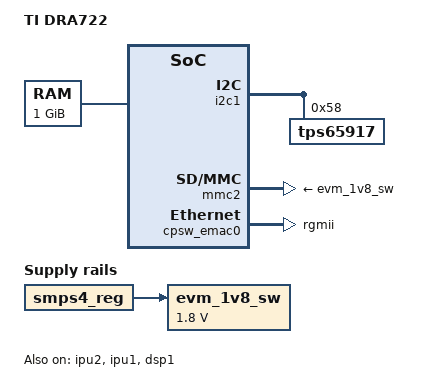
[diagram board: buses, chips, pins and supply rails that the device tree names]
/*
 * Copyright (C) 2014-2016 Texas Instruments Incorporated - http://www.ti.com/
 *
 * This program is free software; you can redistribute it and/or modify
 * it under the terms of the GNU General Public License version 2 as
 * published by the Free Software Foundation.
 */
#include "dra72-evm-common.dtsi"
/ {
	model = "TI DRA722";

	memory@0 {
		device_type = "memory";
		reg = <0x0 0x80000000 0x0 0x40000000>; /* 1024 MB */
	};

	reserved-memory {
		#address-cells = <2>;
		#size-cells = <2>;
		ranges;

		ipu2_cma_pool: ipu2_cma@95800000 {
			compatible = "shared-dma-pool";
			reg = <0x0 0x95800000 0x0 0x3800000>;
			reusable;
			status = "okay";
		};

		dsp1_cma_pool: dsp1_cma@99000000 {
			compatible = "shared-dma-pool";
			reg = <0x0 0x99000000 0x0 0x4000000>;
			reusable;
			status = "okay";
		};

		ipu1_cma_pool: ipu1_cma@9d000000 {
			compatible = "shared-dma-pool";
			reg = <0x0 0x9d000000 0x0 0x2000000>;
			reusable;
			status = "okay";
		};
	};

	evm_1v8_sw: fixedregulator-evm_1v8 {
		compatible = "regulator-fixed";
		regulator-name = "evm_1v8";
		regulator-min-microvolt = <1800000>;
		regulator-max-microvolt = <1800000>;
		vin-supply = <&smps4_reg>;
		regulator-always-on;
		regulator-boot-on;
	};
};

&i2c1 {
	tps65917: tps65917@58 {
		reg = <0x58>;

		interrupts = <GIC_SPI 2 IRQ_TYPE_NONE>;  /* IRQ_SYS_1N */
	};
};

#include "dra72-evm-tps65917.dtsi"

&dra7_pmx_core {
	mmc1_pins_sdr12: pinmux_mmc1_sdr12_pins {
		pinctrl-single,pins = <
			DRA7XX_CORE_IOPAD(0x3754, PIN_INPUT_PULLUP | MUX_MODE0) /* mmc1_clk.clk */
			DRA7XX_CORE_IOPAD(0x3758, PIN_INPUT_PULLUP | MUX_MODE0) /* mmc1_cmd.cmd */
			DRA7XX_CORE_IOPAD(0x375c, PIN_INPUT_PULLUP | MUX_MODE0) /* mmc1_dat0.dat0 */
			DRA7XX_CORE_IOPAD(0x3760, PIN_INPUT_PULLUP | MUX_MODE0) /* mmc1_dat1.dat1 */
			DRA7XX_CORE_IOPAD(0x3764, PIN_INPUT_PULLUP | MUX_MODE0) /* mmc1_dat2.dat2 */
			DRA7XX_CORE_IOPAD(0x3768, PIN_INPUT_PULLUP | MUX_MODE0) /* mmc1_dat3.dat3 */
		>;
	};

	mmc1_pins_hs: pinmux_mmc1_hs_pins {
		pinctrl-single,pins = <
			DRA7XX_CORE_IOPAD(0x3754, PIN_INPUT_PULLUP | MUX_MODE0) /* mmc1_clk.clk */
			DRA7XX_CORE_IOPAD(0x3758, PIN_INPUT_PULLUP | MUX_MODE0) /* mmc1_cmd.cmd */
			DRA7XX_CORE_IOPAD(0x375c, PIN_INPUT_PULLUP | MUX_MODE0) /* mmc1_dat0.dat0 */
			DRA7XX_CORE_IOPAD(0x3760, PIN_INPUT_PULLUP | MUX_MODE0) /* mmc1_dat1.dat1 */
			DRA7XX_CORE_IOPAD(0x3764, PIN_INPUT_PULLUP | MUX_MODE0) /* mmc1_dat2.dat2 */
			DRA7XX_CORE_IOPAD(0x3768, PIN_INPUT_PULLUP | MUX_MODE0) /* mmc1_dat3.dat3 */
		>;
	};

	mmc1_pins_sdr25: pinmux_mmc1_sdr25_pins {
		pinctrl-single,pins = <
			DRA7XX_CORE_IOPAD(0x3754, PIN_INPUT_PULLUP | MUX_MODE0) /* mmc1_clk.clk */
			DRA7XX_CORE_IOPAD(0x3758, PIN_INPUT_PULLUP | MUX_MODE0) /* mmc1_cmd.cmd */
			DRA7XX_CORE_IOPAD(0x375c, PIN_INPUT_PULLUP | MUX_MODE0) /* mmc1_dat0.dat0 */
			DRA7XX_CORE_IOPAD(0x3760, PIN_INPUT_PULLUP | MUX_MODE0) /* mmc1_dat1.dat1 */
			DRA7XX_CORE_IOPAD(0x3764, PIN_INPUT_PULLUP | MUX_MODE0) /* mmc1_dat2.dat2 */
			DRA7XX_CORE_IOPAD(0x3768, PIN_INPUT_PULLUP | MUX_MODE0) /* mmc1_dat3.dat3 */
		>;
	};

	mmc1_pins_sdr50: pinmux_mmc1_sdr50_pins {
		pinctrl-single,pins = <
			DRA7XX_CORE_IOPAD(0x3754, PIN_INPUT_PULLUP | MUX_VIRTUAL_MODE15 | MUX_MODE0)	/* mmc1_clk.mmc1_clk */
			DRA7XX_CORE_IOPAD(0x3758, PIN_INPUT_PULLUP | MUX_VIRTUAL_MODE15 | MUX_MODE0)	/* mmc1_cmd.mmc1_cmd */
			DRA7XX_CORE_IOPAD(0x375C, PIN_INPUT_PULLUP | MUX_VIRTUAL_MODE15 | MUX_MODE0)	/* mmc1_dat0.mmc1_dat0 */
			DRA7XX_CORE_IOPAD(0x3760, PIN_INPUT_PULLUP | MUX_VIRTUAL_MODE15 | MUX_MODE0)	/* mmc1_dat1.mmc1_dat1 */
			DRA7XX_CORE_IOPAD(0x3764, PIN_INPUT_PULLUP | MUX_VIRTUAL_MODE15 | MUX_MODE0)	/* mmc1_dat2.mmc1_dat2 */
			DRA7XX_CORE_IOPAD(0x3768, PIN_INPUT_PULLUP | MUX_VIRTUAL_MODE15 | MUX_MODE0)	/* mmc1_dat3.mmc1_dat3 */
		>;
	};

	mmc1_pins_ddr50: pinmux_mmc1_ddr50_pins {
		pinctrl-single,pins = <
			DRA7XX_CORE_IOPAD(0x3754, PIN_INPUT_PULLUP | MUX_VIRTUAL_MODE14 | MUX_MODE0)	/* mmc1_clk.mmc1_clk */
			DRA7XX_CORE_IOPAD(0x3758, PIN_INPUT_PULLUP | MUX_VIRTUAL_MODE14 | MUX_MODE0)	/* mmc1_cmd.mmc1_cmd */
			DRA7XX_CORE_IOPAD(0x375C, PIN_INPUT_PULLUP | MUX_VIRTUAL_MODE14 | MUX_MODE0)	/* mmc1_dat0.mmc1_dat0 */
			DRA7XX_CORE_IOPAD(0x3760, PIN_INPUT_PULLUP | MUX_VIRTUAL_MODE14 | MUX_MODE0)	/* mmc1_dat1.mmc1_dat1 */
			DRA7XX_CORE_IOPAD(0x3764, PIN_INPUT_PULLUP | MUX_VIRTUAL_MODE14 | MUX_MODE0)	/* mmc1_dat2.mmc1_dat2 */
			DRA7XX_CORE_IOPAD(0x3768, PIN_INPUT_PULLUP | MUX_VIRTUAL_MODE14 | MUX_MODE0)	/* mmc1_dat3.mmc1_dat3 */
		>;
	};

	mmc1_pins_sdr104: pinmux_mmc1_sdr104_pins {
		pinctrl-single,pins = <
			DRA7XX_CORE_IOPAD(0x3754, PIN_INPUT_PULLUP | MODE_SELECT | MUX_MODE0)	/* mmc1_clk.mmc1_clk */
			DRA7XX_CORE_IOPAD(0x3758, PIN_INPUT_PULLUP | MODE_SELECT | MUX_MODE0)	/* mmc1_cmd.mmc1_cmd */
			DRA7XX_CORE_IOPAD(0x375C, PIN_INPUT_PULLUP | MODE_SELECT | MUX_MODE0)	/* mmc1_dat0.mmc1_dat0 */
			DRA7XX_CORE_IOPAD(0x3760, PIN_INPUT_PULLUP | MODE_SELECT | MUX_MODE0)	/* mmc1_dat1.mmc1_dat1 */
			DRA7XX_CORE_IOPAD(0x3764, PIN_INPUT_PULLUP | MODE_SELECT | MUX_MODE0)	/* mmc1_dat2.mmc1_dat2 */
			DRA7XX_CORE_IOPAD(0x3768, PIN_INPUT_PULLUP | MODE_SELECT | MUX_MODE0)	/* mmc1_dat3.mmc1_dat3 */
		>;
	};

	mmc2_pins_hs: pinmux_mmc2_hs_pins {
		pinctrl-single,pins = <
			DRA7XX_CORE_IOPAD(0x348c, PIN_INPUT_PULLUP | MUX_MODE1)	/* gpmc_a19.mmc2_dat4 */
			DRA7XX_CORE_IOPAD(0x3490, PIN_INPUT_PULLUP | MUX_MODE1)	/* gpmc_a20.mmc2_dat5 */
			DRA7XX_CORE_IOPAD(0x3494, PIN_INPUT_PULLUP | MUX_MODE1)	/* gpmc_a21.mmc2_dat6 */
			DRA7XX_CORE_IOPAD(0x3498, PIN_INPUT_PULLUP | MUX_MODE1)	/* gpmc_a22.mmc2_dat7 */
			DRA7XX_CORE_IOPAD(0x349c, PIN_INPUT_PULLUP | MUX_MODE1)	/* gpmc_a23.mmc2_clk */
			DRA7XX_CORE_IOPAD(0x34a0, PIN_INPUT_PULLUP | MUX_MODE1)	/* gpmc_a24.mmc2_dat0 */
			DRA7XX_CORE_IOPAD(0x34a4, PIN_INPUT_PULLUP | MUX_MODE1)	/* gpmc_a25.mmc2_dat1 */
			DRA7XX_CORE_IOPAD(0x34a8, PIN_INPUT_PULLUP | MUX_MODE1)	/* gpmc_a26.mmc2_dat2 */
			DRA7XX_CORE_IOPAD(0x34ac, PIN_INPUT_PULLUP | MUX_MODE1)	/* gpmc_a27.mmc2_dat3 */
			DRA7XX_CORE_IOPAD(0x34b0, PIN_INPUT_PULLUP | MUX_MODE1)	/* gpmc_cs1.mmc2_cmd */
		>;
	};

	mmc2_pins_ddr_1_8v: pinmux_mmc2_ddr_1_8v_pins {
		pinctrl-single,pins = <
			DRA7XX_CORE_IOPAD(0x348c, PIN_INPUT_PULLUP | MUX_MODE1)	/* gpmc_a19.mmc2_dat4 */
			DRA7XX_CORE_IOPAD(0x3490, PIN_INPUT_PULLUP | MUX_MODE1)	/* gpmc_a20.mmc2_dat5 */
			DRA7XX_CORE_IOPAD(0x3494, PIN_INPUT_PULLUP | MUX_MODE1)	/* gpmc_a21.mmc2_dat6 */
			DRA7XX_CORE_IOPAD(0x3498, PIN_INPUT_PULLUP | MUX_MODE1)	/* gpmc_a22.mmc2_dat7 */
			DRA7XX_CORE_IOPAD(0x349c, PIN_INPUT_PULLUP | MUX_MODE1)	/* gpmc_a23.mmc2_clk */
			DRA7XX_CORE_IOPAD(0x34a0, PIN_INPUT_PULLUP | MUX_MODE1)	/* gpmc_a24.mmc2_dat0 */
			DRA7XX_CORE_IOPAD(0x34a4, PIN_INPUT_PULLUP | MUX_MODE1)	/* gpmc_a25.mmc2_dat1 */
			DRA7XX_CORE_IOPAD(0x34a8, PIN_INPUT_PULLUP | MUX_MODE1)	/* gpmc_a26.mmc2_dat2 */
			DRA7XX_CORE_IOPAD(0x34ac, PIN_INPUT_PULLUP | MUX_MODE1)	/* gpmc_a27.mmc2_dat3 */
			DRA7XX_CORE_IOPAD(0x34b0, PIN_INPUT_PULLUP | MUX_MODE1)	/* gpmc_cs1.mmc2_cmd */
		>;
	};

	mmc2_pins_hs200_1_8v: pinmux_mmc2_hs200_1_8v_pins {
		pinctrl-single,pins = <
			DRA7XX_CORE_IOPAD(0x348c, PIN_INPUT_PULLUP | MODE_SELECT | MUX_MODE1)	/* gpmc_a19.mmc2_dat4 */
			DRA7XX_CORE_IOPAD(0x3490, PIN_INPUT_PULLUP | MODE_SELECT | MUX_MODE1)	/* gpmc_a20.mmc2_dat5 */
			DRA7XX_CORE_IOPAD(0x3494, PIN_INPUT_PULLUP | MODE_SELECT | MUX_MODE1)	/* gpmc_a21.mmc2_dat6 */
			DRA7XX_CORE_IOPAD(0x3498, PIN_INPUT_PULLUP | MODE_SELECT | MUX_MODE1)	/* gpmc_a22.mmc2_dat7 */
			DRA7XX_CORE_IOPAD(0x349c, PIN_INPUT_PULLUP | MODE_SELECT | MUX_MODE1)	/* gpmc_a23.mmc2_clk */
			DRA7XX_CORE_IOPAD(0x34a0, PIN_INPUT_PULLUP | MODE_SELECT | MUX_MODE1)	/* gpmc_a24.mmc2_dat0 */
			DRA7XX_CORE_IOPAD(0x34a4, PIN_INPUT_PULLUP | MODE_SELECT | MUX_MODE1)	/* gpmc_a25.mmc2_dat1 */
			DRA7XX_CORE_IOPAD(0x34a8, PIN_INPUT_PULLUP | MODE_SELECT | MUX_MODE1)	/* gpmc_a26.mmc2_dat2 */
			DRA7XX_CORE_IOPAD(0x34ac, PIN_INPUT_PULLUP | MODE_SELECT | MUX_MODE1)	/* gpmc_a27.mmc2_dat3 */
			DRA7XX_CORE_IOPAD(0x34b0, PIN_INPUT_PULLUP | MODE_SELECT | MUX_MODE1)	/* gpmc_cs1.mmc2_cmd */
		>;
	};
};

&dra7_iodelay_core {
	mmc1_iodelay_sdr104_conf: mmc1_iodelay_sdr104_conf {
		pinctrl-pin-array = <
			0x620 A_DELAY_PS(560) G_DELAY_PS(365)	/* CFG_MMC1_CLK_OUT */
			0x62c A_DELAY_PS(0) G_DELAY_PS(0)	/* CFG_MMC1_CMD_OUT */
			0x638 A_DELAY_PS(29) G_DELAY_PS(0)	/* CFG_MMC1_DAT0_OUT */
			0x644 A_DELAY_PS(0) G_DELAY_PS(0)	/* CFG_MMC1_DAT1_OUT */
			0x650 A_DELAY_PS(47) G_DELAY_PS(0)	/* CFG_MMC1_DAT2_OUT */
			0x65c A_DELAY_PS(30) G_DELAY_PS(0)	/* CFG_MMC1_DAT3_OUT */
			0x628 A_DELAY_PS(125) G_DELAY_PS(0)	/* CFG_MMC1_CMD_OEN */
			0x634 A_DELAY_PS(43) G_DELAY_PS(0)	/* CFG_MMC1_DAT0_OEN */
			0x640 A_DELAY_PS(433) G_DELAY_PS(0)	/* CFG_MMC1_DAT1_OEN */
			0x64c A_DELAY_PS(287) G_DELAY_PS(0)	/* CFG_MMC1_DAT2_OEN */
			0x658 A_DELAY_PS(351) G_DELAY_PS(0)	/* CFG_MMC1_DAT3_OEN */
		>;
	};

	mmc2_iodelay_hs200_1_8v_conf: mmc2_iodelay_hs200_1_8v_conf {
		pinctrl-pin-array = <
			0x194 A_DELAY_PS(150) G_DELAY_PS(95)	/* CFG_GPMC_A19_OUT */
			0x1ac A_DELAY_PS(250) G_DELAY_PS(0)	/* CFG_GPMC_A20_OUT */
			0x1b8 A_DELAY_PS(125) G_DELAY_PS(0)	/* CFG_GPMC_A21_OUT */
			0x1c4 A_DELAY_PS(100) G_DELAY_PS(0)	/* CFG_GPMC_A22_OUT */
			0x1d0 A_DELAY_PS(870) G_DELAY_PS(415)	/* CFG_GPMC_A23_OUT */
			0x1dc A_DELAY_PS(30) G_DELAY_PS(0)	/* CFG_GPMC_A24_OUT */
			0x1e8 A_DELAY_PS(200) G_DELAY_PS(0)	/* CFG_GPMC_A25_OUT */
			0x1f4 A_DELAY_PS(200) G_DELAY_PS(0)	/* CFG_GPMC_A26_OUT */
			0x200 A_DELAY_PS(0) G_DELAY_PS(0)	/* CFG_GPMC_A27_OUT */
			0x368 A_DELAY_PS(240) G_DELAY_PS(0)	/* CFG_GPMC_CS1_OUT */
			0x190 A_DELAY_PS(695) G_DELAY_PS(0)	/* CFG_GPMC_A19_OEN */
			0x1a8 A_DELAY_PS(924) G_DELAY_PS(0)	/* CFG_GPMC_A20_OEN */
			0x1b4 A_DELAY_PS(719) G_DELAY_PS(0)	/* CFG_GPMC_A21_OEN */
			0x1c0 A_DELAY_PS(824) G_DELAY_PS(0)	/* CFG_GPMC_A22_OEN */
			0x1d8 A_DELAY_PS(877) G_DELAY_PS(0)	/* CFG_GPMC_A24_OEN */
			0x1e4 A_DELAY_PS(446) G_DELAY_PS(0)	/* CFG_GPMC_A25_OEN */
			0x1f0 A_DELAY_PS(847) G_DELAY_PS(0)	/* CFG_GPMC_A26_OEN */
			0x1fc A_DELAY_PS(586) G_DELAY_PS(0)	/* CFG_GPMC_A27_OEN */
			0x364 A_DELAY_PS(1039) G_DELAY_PS(0)	/* CFG_GPMC_CS1_OEN */
		>;
	};
};

&hdmi {
	vdda-supply = <&ldo3_reg>;
};

&pcf_gpio_21 {
	interrupt-parent = <&gpio6>;
	interrupts = <11 IRQ_TYPE_EDGE_FALLING>;
};

&mmc1 {
	pinctrl-names = "default", "hs", "sdr12", "sdr25", "sdr50", "ddr50", "sdr104";
	pinctrl-0 = <&mmc1_pins_default>;
	pinctrl-1 = <&mmc1_pins_hs>;
	pinctrl-2 = <&mmc1_pins_sdr12>;
	pinctrl-3 = <&mmc1_pins_sdr25>;
	pinctrl-4 = <&mmc1_pins_sdr50>;
	pinctrl-5 = <&mmc1_pins_ddr50>;
	pinctrl-6 = <&mmc1_pins_sdr104 &mmc1_iodelay_sdr104_conf>;
	vmmc_aux-supply = <&ldo1_reg>;
};

&mmc2 {
	vmmc-supply = <&evm_1v8_sw>;
	pinctrl-names = "default", "hs", "ddr_1_8v", "hs200_1_8v";
	pinctrl-0 = <&mmc2_pins_default>;
	pinctrl-1 = <&mmc2_pins_hs>;
	pinctrl-2 = <&mmc2_pins_ddr_1_8v>;
	pinctrl-3 = <&mmc2_pins_hs200_1_8v &mmc2_iodelay_hs200_1_8v_conf>;
};

&mac {
	slaves = <1>;
	mode-gpios = <&pcf_gpio_21 4 GPIO_ACTIVE_HIGH>;
};

&cpsw_emac0 {
	phy_id = <&davinci_mdio>, <3>;
	phy-mode = "rgmii";
};

&ipu2 {
	status = "okay";
	memory-region = <&ipu2_cma_pool>;
};

&ipu1 {
	status = "okay";
	memory-region = <&ipu1_cma_pool>;
};

&dsp1 {
	status = "okay";
	memory-region = <&dsp1_cma_pool>;
};
